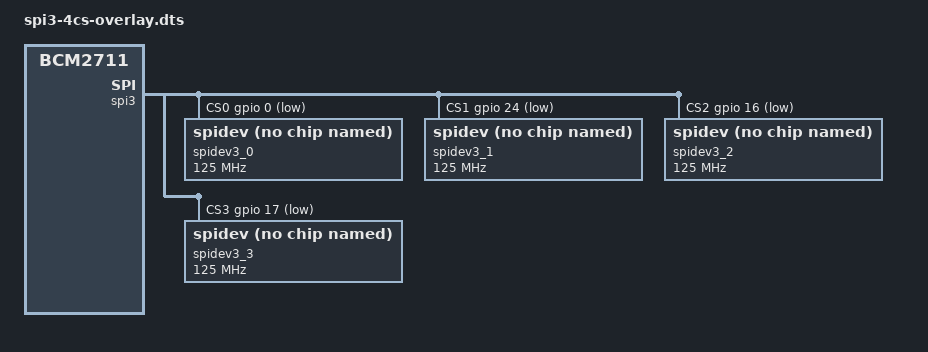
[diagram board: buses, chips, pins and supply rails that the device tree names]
/dts-v1/;
/plugin/;


/ {
	compatible = "brcm,bcm2711";

	fragment@0 {
		target = <&spi3_cs_pins>;
		frag0: __overlay__ {
			brcm,pins = <0 24 16 17>;
			brcm,function = <1>; /* output */
		};
	};

	fragment@1 {
		target = <&spi3>;
		frag1: __overlay__ {
			/* needed to avoid dtc warning */
			#address-cells = <1>;
			#size-cells = <0>;

			cs-gpios = <&gpio 0 1>, <&gpio 24 1>, <&gpio 16 1>, <&gpio 17 1>;
			status = "okay";

			spidev3_0: spidev@0 {
				compatible = "spidev";
				reg = <0>;      /* CE0 */
				#address-cells = <1>;
				#size-cells = <0>;
				spi-max-frequency = <125000000>;
				status = "okay";
			};

			spidev3_1: spidev@1 {
				compatible = "spidev";
				reg = <1>;      /* CE1 */
				#address-cells = <1>;
				#size-cells = <0>;
				spi-max-frequency = <125000000>;
				status = "okay";
			};

			spidev3_2: spidev@2 {
				compatible = "spidev";
				reg = <2>;      /* CE2 */
				#address-cells = <1>;
				#size-cells = <0>;
				spi-max-frequency = <125000000>;
				status = "okay";
			};

			spidev3_3: spidev@3 {
				compatible = "spidev";
				reg = <3>;      /* CE3 */
				#address-cells = <1>;
				#size-cells = <0>;
				spi-max-frequency = <125000000>;
				status = "okay";
			};
		};
	};
};
